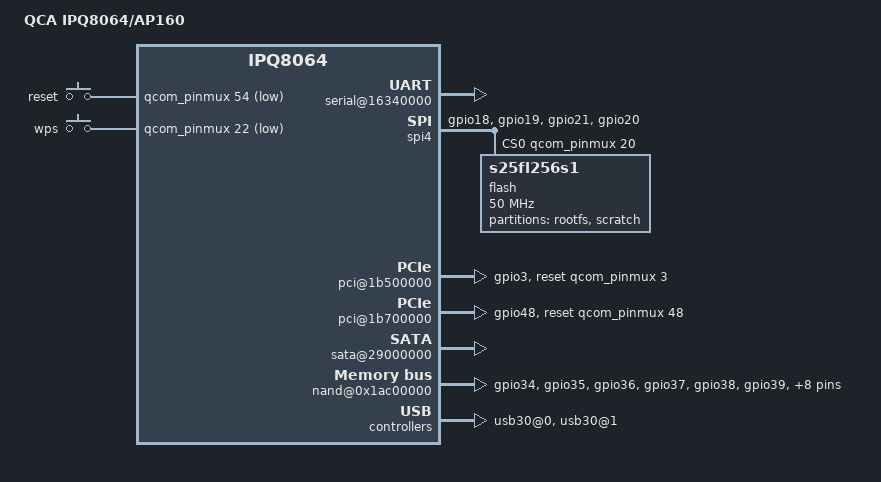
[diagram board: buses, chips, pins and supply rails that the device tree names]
/* Copyright (c) 2015, The Linux Foundation. All rights reserved.
 *
 * Permission to use, copy, modify, and/or distribute this software for any
 * purpose with or without fee is hereby granted, provided that the above
 * copyright notice and this permission notice appear in all copies.
 *
 * THE SOFTWARE IS PROVIDED "AS IS" AND THE AUTHOR DISCLAIMS ALL WARRANTIES
 * WITH REGARD TO THIS SOFTWARE INCLUDING ALL IMPLIED WARRANTIES OF
 * MERCHANTABILITY AND FITNESS. IN NO EVENT SHALL THE AUTHOR BE LIABLE FOR
 * ANY SPECIAL, DIRECT, INDIRECT, OR CONSEQUENTIAL DAMAGES OR ANY DAMAGES
 * WHATSOEVER RESULTING FROM LOSS OF USE, DATA OR PROFITS, WHETHER IN AN
 * ACTION OF CONTRACT, NEGLIGENCE OR OTHER TORTIOUS ACTION, ARISING OUT OF
 * OR IN CONNECTION WITH THE USE OR PERFORMANCE OF THIS SOFTWARE.
 *
 */

#include <dt-bindings/interrupt-controller/arm-gic.h>
#include <dt-bindings/interrupt-controller/irq.h>
#include <dt-bindings/input/input.h>
#include <dt-bindings/gpio/gpio.h>

/ {
	model = "QCA IPQ8064/AP160";
	compatible = "qcom,ipq8064-ap160", "qcom,ipq8064";

	reserved-memory {
		#address-cells = <1>;
		#size-cells = <1>;
		ranges;
		rsvd@41200000 {
			reg = <0x41200000 0x300000>;
			no-map;
		};
	};

	soc {
		pinmux@800000 {
			pinctrl-0 = <&rgmii2_pins_default>;
			pinctrl-names = "default";

			rpm_i2c_pinmux: rpm_i2c_pinmux {
				mux {
					pins = "gpio12", "gpio13";
					function = "gsbi4";
					drive-strength = <12>;
					bias-disable;
				};
			};

			pcie1_pins: pcie1_pinmux {
				mux {
					pins = "gpio3";
					drive-strength = <2>;
					bias-disable;
				};
			};

			pcie2_pins: pcie2_pinmux {
				mux {
					pins = "gpio48";
					drive-strength = <2>;
					bias-disable;
				};
			};

			spi_pins: spi_pins {
				mux {
					pins = "gpio18", "gpio19", "gpio21";
					function = "gsbi5";
					drive-strength = <10>;
					bias-none;
				};
				cs {
					pins = "gpio20";
					drive-strength = <12>;
				};
			};
			nand_pins: nand_pins {
				mux {
					pins = "gpio34", "gpio35", "gpio36",
						"gpio37", "gpio38", "gpio39",
						"gpio40", "gpio41", "gpio42",
						"gpio43", "gpio44", "gpio45",
						"gpio46", "gpio47";
					function = "nand";
					drive-strength = <10>;
					bias-disable;
				};
				pullups {
					pins = "gpio39";
					bias-pull-up;
				};
				hold {
					pins = "gpio40", "gpio41", "gpio42",
						"gpio43", "gpio44", "gpio45",
						"gpio46", "gpio47";
					bias-bus-hold;
				};
			};

			rgmii2_pins_default: rgmii2_pins_default {
				mux {
					pins = "gpio27", "gpio28", "gpio29", "gpio30", "gpio31", "gpio32",
					       "gpio51", "gpio52", "gpio59", "gpio60", "gpio61", "gpio62" ;
					function = "rgmii2";
					drive-strength = <8>;
					bias-disable;
				};

				tx {
					pins = "gpio27", "gpio28", "gpio29", "gpio30", "gpio31", "gpio32" ;
					input-disable;
				};
			};
		};

		gsbi@16300000 {
			qcom,mode = <GSBI_PROT_I2C_UART>;
			status = "ok";
			serial@16340000 {
				status = "ok";
			};
		};

		gsbi5: gsbi@1a200000 {
			qcom,mode = <GSBI_PROT_SPI>;
			status = "ok";

			spi4: spi@1a280000 {
				status = "ok";
				spi-max-frequency = <50000000>;

				pinctrl-0 = <&spi_pins>;
				pinctrl-names = "default";

				cs-gpios = <&qcom_pinmux 20 0>;

				dmas = <&adm_dma 6 9>,
					<&adm_dma 5 10>;
				dma-names = "rx", "tx";

				flash: m25p80@0 {
					compatible = "s25fl256s1";
					#address-cells = <1>;
					#size-cells = <1>;
					spi-max-frequency = <50000000>;
					reg = <0>;
					m25p,fast-read;

					partition@0 {
						label = "rootfs";
						reg = <0x0 0x1000000>;
					};

					partition@1 {
						label = "scratch";
						reg = <0x1000000 0x1000000>;
					};
				};
			};
		};

		sata-phy@1b400000 {
			status = "ok";
		};

		pci@1b500000 {
			status = "ok";
			reset-gpio = <&qcom_pinmux 3 0>;
			pinctrl-0 = <&pcie1_pins>;
			pinctrl-names = "default";

			ranges = <0x00000000 0 0x00000000 0x0ff00000 0 0x00100000   /* configuration space */
				  0x81000000 0 0	  0x0fe00000 0 0x00100000   /* downstream I/O */
				  0x82000000 0 0x00000000 0x08000000 0 0x07e00000>; /* non-prefetchable memory */
		};

		pci@1b700000 {
			status = "ok";
			reset-gpio = <&qcom_pinmux 48 0>;
			pinctrl-0 = <&pcie2_pins>;
			pinctrl-names = "default";

			ranges = <0x00000000 0 0x00000000 0x31f00000 0 0x00100000   /* configuration space */
				  0x81000000 0 0	  0x31e00000 0 0x00100000   /* downstream I/O */
				  0x82000000 0 0x00000000 0x2e000000 0 0x03e00000>; /* non-prefetchable memory */

		};

		sata@29000000 {
			status = "ok";
		};

		dma@18300000 {
			status = "ok";
		};

		nand@0x1ac00000 {
			status = "ok";

			pinctrl-0 = <&nand_pins>;
			pinctrl-names = "default";
		};

		tcsr@1a400000 {
			status = "ok";
			qcom,usb-ctrl-select = <TCSR_USB_SELECT_USB3_DUAL>;
		};

		phy@100f8800 {		/* USB3 port 1 HS phy */
			status = "ok";
		};

		phy@100f8830 {		/* USB3 port 1 SS phy */
			status = "ok";
		};

		phy@110f8800 {		/* USB3 port 0 HS phy */
			status = "ok";
		};

		phy@110f8830 {		/* USB3 port 0 SS phy */
			status = "ok";
		};

		usb30@0 {
			status = "ok";
		};

		usb30@1 {
			status = "ok";
		};

		gpio_keys {
			compatible = "gpio-keys";

			button@1 {
				label = "reset";
				linux,code = <KEY_RESTART>;
				gpios = <&qcom_pinmux 54 GPIO_ACTIVE_LOW>;
				linux,input-type = <1>;
				debounce-interval = <60>;
			};
			button@2 {
				label = "wps";
				linux,code = <KEY_WPS_BUTTON>;
				gpios = <&qcom_pinmux 22 GPIO_ACTIVE_LOW>;
				linux,input-type = <1>;
				debounce-interval = <60>;
			};
		};

		rpm@108000 {
			pinctrl-0 = <&rpm_i2c_pinmux>;
			pinctrl-names = "default";
		};
	};
};
